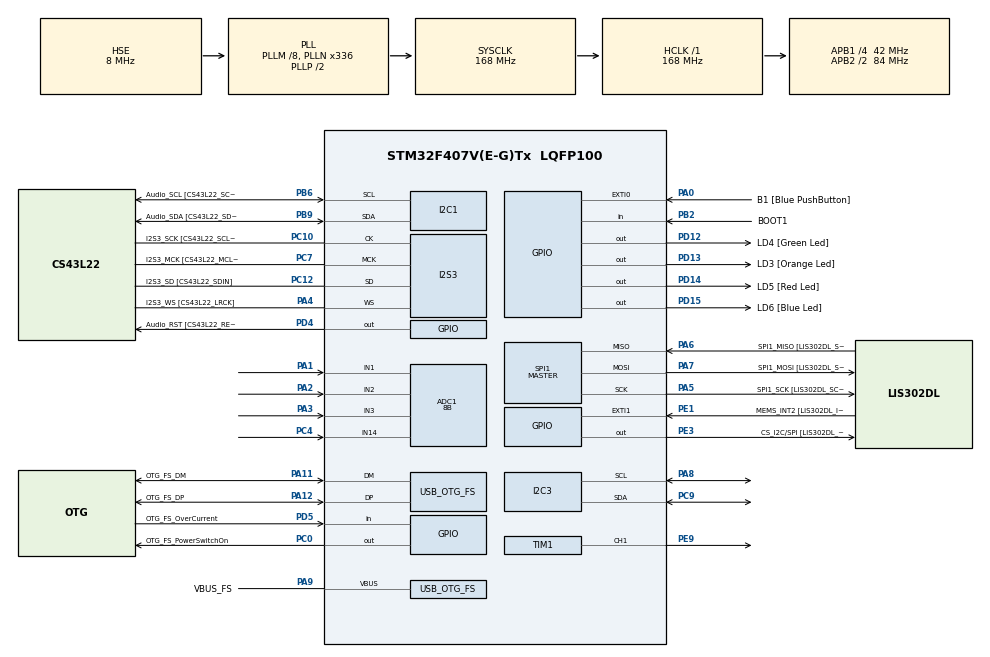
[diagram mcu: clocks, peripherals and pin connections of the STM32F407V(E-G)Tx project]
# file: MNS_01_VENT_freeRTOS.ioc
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ADC1.Channel-0\#ChannelRegularConversion=ADC_CHANNEL_1
ADC1.NbrOfConversionFlag=1
ADC1.Rank-0\#ChannelRegularConversion=1
ADC1.Resolution=ADC_RESOLUTION_8B
ADC1.SamplingTime-0\#ChannelRegularConversion=ADC_SAMPLETIME_3CYCLES
ADC1.master=1
I2C1.I2C_Mode=I2C_Fast
I2C3.I2C_Mode=I2C_Fast
I2S3.AudioFreq-Half_Duplex_Master=I2S_AUDIOFREQ_96K
I2S3.ErrorAudioFreq=-2.34 %
I2S3.ErrorAudioFreq-Half_Duplex_Master=0.8 %
I2S3.FullDuplexMode=I2S_FULLDUPLEXMODE_DISABLE
I2S3.Instance=SPI$Index
I2S3.RealAudioFreq=93.75 KHz
I2S3.RealAudioFreq-Half_Duplex_Master=96.774 KHz
I2S3.VirtualMode=I2S_MODE_MASTER
Mcu.Family=STM32F4
Mcu.Name=STM32F407V(E-G)Tx
Mcu.Package=LQFP100
NVIC.I2C3_EV_IRQn=true\:0\:0\:false\:false\:true\:true\:true\:true
NVIC.OTG_FS_IRQn=true\:0\:0\:false\:false\:true\:true\:true\:true
NVIC.PriorityGroup=NVIC_PRIORITYGROUP_4
NVIC.TIM6_DAC_IRQn=true\:0\:0\:false\:false\:true\:false\:true\:true
NVIC.TimeBase=TIM6_DAC_IRQn
NVIC.TimeBaseIP=TIM6
PA0-WKUP.GPIO_Label=B1 [Blue PushButton]
PA0-WKUP.GPIO_ModeDefaultEXTI=GPIO_MODE_EVT_RISING
PA0-WKUP.GPIO_PuPd=GPIO_NOPULL
PA0-WKUP.Signal=GPXTI0
PA1.Signal=ADCx_IN1
PA10.GPIO_Label=OTG_FS_ID
PA10.GPIO_Mode=GPIO_MODE_AF_PP
PA10.GPIO_PuPd=GPIO_NOPULL
PA10.GPIO_Speed=GPIO_SPEED_FREQ_LOW
PA10.Signal=USB_OTG_FS_ID
PA11.GPIO_Label=OTG_FS_DM
PA11.GPIO_Mode=GPIO_MODE_AF_PP
PA11.GPIO_PuPd=GPIO_NOPULL
PA11.GPIO_Speed=GPIO_SPEED_FREQ_LOW
PA11.Mode=Host_Only
PA11.Signal=USB_OTG_FS_DM
PA12.GPIO_Label=OTG_FS_DP
PA12.GPIO_Mode=GPIO_MODE_AF_PP
PA12.GPIO_PuPd=GPIO_NOPULL
PA12.GPIO_Speed=GPIO_SPEED_FREQ_LOW
PA12.Mode=Host_Only
PA12.Signal=USB_OTG_FS_DP
PA13.GPIO_Label=SWDIO
PA13.Mode=Serial_Wire
PA13.Signal=SYS_JTMS-SWDIO
PA14.GPIO_Label=SWCLK
PA14.Mode=Serial_Wire
PA14.Signal=SYS_JTCK-SWCLK
PA2.Signal=ADCx_IN2
PA3.Signal=ADCx_IN3
PA4.GPIO_Label=I2S3_WS [CS43L22_LRCK]
PA4.GPIO_Mode=GPIO_MODE_AF_PP
PA4.GPIO_PuPd=GPIO_NOPULL
PA4.GPIO_Speed=GPIO_SPEED_FREQ_LOW
PA4.Mode=Half_Duplex_Master
PA4.Signal=I2S3_WS
PA5.GPIO_Label=SPI1_SCK [LIS302DL_SCL/SPC]
PA5.GPIO_Mode=GPIO_MODE_AF_PP
PA5.GPIO_PuPd=GPIO_NOPULL
PA5.GPIO_Speed=GPIO_SPEED_FREQ_LOW
PA5.Mode=Full_Duplex_Master
PA5.Signal=SPI1_SCK
PA6.GPIO_Label=SPI1_MISO [LIS302DL_SDO]
PA6.GPIO_Mode=GPIO_MODE_AF_PP
PA6.GPIO_PuPd=GPIO_NOPULL
PA6.GPIO_Speed=GPIO_SPEED_FREQ_LOW
PA6.Mode=Full_Duplex_Master
PA6.Signal=SPI1_MISO
PA7.GPIO_Label=SPI1_MOSI [LIS302DL_SDA/SDI/SDO]
PA7.GPIO_Mode=GPIO_MODE_AF_PP
PA7.GPIO_PuPd=GPIO_NOPULL
PA7.GPIO_Speed=GPIO_SPEED_FREQ_LOW
PA7.Mode=Full_Duplex_Master
PA7.Signal=SPI1_MOSI
PA8.Mode=I2C
PA8.Signal=I2C3_SCL
PA9.GPIO_Label=VBUS_FS
PA9.GPIO_Mode=GPIO_MODE_INPUT
PA9.GPIO_PuPd=GPIO_NOPULL
PA9.Mode=Activate_VBUS
PA9.Signal=USB_OTG_FS_VBUS
PB10.GPIO_Label=CLK_IN [MP45DT02_CLK]
PB10.GPIO_Mode=GPIO_MODE_AF_PP
PB10.GPIO_PuPd=GPIO_NOPULL
PB10.GPIO_Speed=GPIO_SPEED_FREQ_LOW
PB10.Signal=I2S2_CK
PB2.GPIO_Label=BOOT1
PB2.GPIO_Mode=GPIO_MODE_INPUT
PB2.GPIO_PuPd=GPIO_NOPULL
PB2.Signal=GPIO_Input
PB3.GPIO_Label=SWO
PB3.Signal=SYS_JTDO-SWO
PB6.GPIO_Label=Audio_SCL [CS43L22_SCL]
PB6.GPIO_Mode=GPIO_MODE_AF_OD
PB6.GPIO_Pu=GPIO_PULLUP
PB6.GPIO_PuPd=GPIO_NOPULL
PB6.GPIO_Speed=GPIO_SPEED_FREQ_LOW
PB6.Mode=I2C
PB6.Signal=I2C1_SCL
PB9.GPIO_Label=Audio_SDA [CS43L22_SDA]
PB9.GPIO_Mode=GPIO_MODE_AF_OD
PB9.GPIO_Pu=GPIO_PULLUP
PB9.GPIO_PuPd=GPIO_NOPULL
PB9.GPIO_Speed=GPIO_SPEED_FREQ_LOW
PB9.Mode=I2C
PB9.Signal=I2C1_SDA
PC0.GPIO_Label=OTG_FS_PowerSwitchOn
PC0.GPIO_PuPd=GPIO_NOPULL
PC0.GPIO_Speed=GPIO_SPEED_FREQ_LOW
PC0.PinState=GPIO_PIN_SET
PC0.Signal=GPIO_Output
PC10.GPIO_Label=I2S3_SCK [CS43L22_SCLK]
PC10.GPIO_Mode=GPIO_MODE_AF_PP
PC10.GPIO_PuPd=GPIO_NOPULL
PC10.GPIO_Speed=GPIO_SPEED_FREQ_LOW
PC10.Mode=Half_Duplex_Master
PC10.Signal=I2S3_CK
PC12.GPIO_Label=I2S3_SD [CS43L22_SDIN]
PC12.GPIO_Mode=GPIO_MODE_AF_PP
PC12.GPIO_PuPd=GPIO_NOPULL
PC12.GPIO_Speed=GPIO_SPEED_FREQ_LOW
PC12.Mode=Half_Duplex_Master
PC12.Signal=I2S3_SD
PC14-OSC32_IN.GPIO_Label=PC14-OSC32_IN
PC14-OSC32_IN.Mode=LSE-External-Oscillator
PC14-OSC32_IN.Signal=RCC_OSC32_IN
PC15-OSC32_OUT.GPIO_Label=PC15-OSC32_OUT
PC15-OSC32_OUT.Mode=LSE-External-Oscillator
PC15-OSC32_OUT.Signal=RCC_OSC32_OUT
PC3.GPIO_Label=PDM_OUT [MP45DT02_DOUT]
PC3.GPIO_Mode=GPIO_MODE_AF_PP
PC3.GPIO_PuPd=GPIO_NOPULL
PC3.GPIO_Speed=GPIO_SPEED_FREQ_LOW
PC3.Signal=I2S2_SD
PC4.Signal=ADCx_IN14
PC7.GPIO_Label=I2S3_MCK [CS43L22_MCLK]
PC7.GPIO_Mode=GPIO_MODE_AF_PP
PC7.GPIO_PuPd=GPIO_NOPULL
PC7.GPIO_Speed=GPIO_SPEED_FREQ_LOW
PC7.Mode=Master_Clock_Activated
PC7.Signal=I2S3_MCK
PC9.Mode=I2C
PC9.Signal=I2C3_SDA
PD12.GPIO_Label=LD4 [Green Led]
PD12.GPIO_PuPd=GPIO_NOPULL
PD12.GPIO_Speed=GPIO_SPEED_FREQ_LOW
PD12.Signal=GPIO_Output
PD13.GPIO_Label=LD3 [Orange Led]
PD13.GPIO_PuPd=GPIO_NOPULL
PD13.GPIO_Speed=GPIO_SPEED_FREQ_LOW
PD13.Signal=GPIO_Output
PD14.GPIO_Label=LD5 [Red Led]
PD14.GPIO_PuPd=GPIO_NOPULL
PD14.GPIO_Speed=GPIO_SPEED_FREQ_LOW
PD14.Signal=GPIO_Output
PD15.GPIO_Label=LD6 [Blue Led]
PD15.GPIO_PuPd=GPIO_NOPULL
PD15.GPIO_Speed=GPIO_SPEED_FREQ_LOW
PD15.Signal=GPIO_Output
PD4.GPIO_Label=Audio_RST [CS43L22_RESET]
PD4.GPIO_PuPd=GPIO_NOPULL
PD4.GPIO_Speed=GPIO_SPEED_FREQ_LOW
PD4.Signal=GPIO_Output
PD5.GPIO_Label=OTG_FS_OverCurrent
PD5.GPIO_Mode=GPIO_MODE_INPUT
PD5.GPIO_PuPd=GPIO_NOPULL
PD5.Signal=GPIO_Input
PE1.GPIO_Label=MEMS_INT2 [LIS302DL_INT2]
PE1.GPIO_ModeDefaultEXTI=GPIO_MODE_EVT_RISING
PE1.GPIO_PuPd=GPIO_NOPULL
PE1.Signal=GPXTI1
PE3.GPIO_Label=CS_I2C/SPI [LIS302DL_CS_I2C/SPI]
PE3.GPIO_PuPd=GPIO_NOPULL
PE3.GPIO_Speed=GPIO_SPEED_FREQ_LOW
PE3.Signal=GPIO_Output
PE9.Signal=S_TIM1_CH1
PH0-OSC_IN.GPIO_Label=PH0-OSC_IN
PH0-OSC_IN.Mode=HSE-External-Oscillator
PH0-OSC_IN.Signal=RCC_OSC_IN
PH1-OSC_OUT.GPIO_Label=PH1-OSC_OUT
PH1-OSC_OUT.Mode=HSE-External-Oscillator
PH1-OSC_OUT.Signal=RCC_OSC_OUT
ProjectManager.HeapSize=0x200
ProjectManager.StackSize=0x400
ProjectManager.TargetToolchain=STM32CubeIDE
RCC.48MHZClocksFreq_Value=48000000
RCC.AHBFreq_Value=168000000
RCC.APB1CLKDivider=RCC_HCLK_DIV4
RCC.APB1Freq_Value=42000000
RCC.APB1TimFreq_Value=84000000
RCC.APB2CLKDivider=RCC_HCLK_DIV2
RCC.APB2Freq_Value=84000000
RCC.APB2TimFreq_Value=168000000
RCC.CortexFreq_Value=168000000
RCC.HCLKFreq_Value=168000000
RCC.HSE_VALUE=8000000
RCC.HSI_VALUE=16000000
RCC.PLLM=8
RCC.PLLN=336
RCC.PLLQ=7
RCC.SYSCLKFreq_VALUE=168000000
RCC.SYSCLKSource=RCC_SYSCLKSOURCE_PLLCLK
RCC.VCOOutputFreq_Value=336000000
SH.ADCx_IN1.0=ADC1_IN1,IN1
SH.ADCx_IN14.0=ADC1_IN14,IN14
SH.ADCx_IN2.0=ADC1_IN2,IN2
SH.ADCx_IN3.0=ADC1_IN3,IN3
SH.S_TIM1_CH1.0=TIM1_CH1,PWM Generation1 CH1
SPI1.BaudRatePrescaler-Full_Duplex_Master=SPI_BAUDRATEPRESCALER_2
SPI1.CalculateBaudRate-Full_Duplex_Master=42.0 MBits/s
SPI1.Direction=SPI_DIRECTION_2LINES
SPI1.Mode=SPI_MODE_MASTER
SPI1.Mode-Full_Duplex_Master=SPI_MODE_MASTER
SPI1.VirtualType=VM_MASTER
TIM1.Channel-PWM\ Generation1\ CH1=TIM_CHANNEL_1
TIM1.Period=1000
TIM1.Prescaler=840
USB_HOST.BSP.number=1
USB_HOST.USBH_HandleTypeDef-CDC_FS=hUsbHostFS
USB_HOST.VirtualModeFS=Cdc
USB_HOST0.BSP.STBoard=false
USB_HOST0.BSP.api=Unknown
USB_HOST0.BSP.i2caddr=0
USB_HOST0.BSP.i2creg=0
USB_HOST0.BSP.instance=PC0
USB_HOST0.BSP.ip=GPIO
USB_HOST0.BSP.mode=Output
USB_HOST0.BSP.name=Drive_VBUS_FS
USB_HOST0.BSP.solution=PC0
USB_OTG_FS.VirtualMode=Host_Only
USB_OTG_FS.phy_itface=HCD_PHY_EMBEDDED
VP_SYS_VS_tim6.Mode=TIM6
VP_TIM1_VS_ClockSourceINT.Mode=Internal
VP_USB_HOST_VS_USB_HOST_CDC_FS.Mode=CDC_FS
board=STM32F407G-DISC1

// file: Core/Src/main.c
/* USER CODE BEGIN Header */
/**
  ******************************************************************************
  * @file           : main.c
  * @brief          : Main program body
  ******************************************************************************
  * @attention
  *
  * Copyright (c) 2022 STMicroelectronics.
  * All rights reserved.
  *
  * This software is licensed under terms that can be found in the LICENSE file
  * in the root directory of this software component.
  * If no LICENSE file comes with this software, it is provided AS-IS.
  *
  ******************************************************************************
  */
/* USER CODE END Header */
#include "main.h"
#include "usb_host.h"

/* USER CODE BEGIN Includes */
#include "FreeRTOS.h"
#include "Task.h"
#include "queue.h"

/////////////////////////////////////////////Include library for OLED////////////////////////////////////////////////////////////
#include "ssd1306.h"
#include "fonts.h"
#include "test.h"
////////////////////////////////////////////MAX30102 INCLUDES////////////////////////////////////////////////////////////////////////
#include "stdio.h"
#include "algorithm.h"
#include "max30102_lib.h"

/* USER CODE END Includes */

 ADC_HandleTypeDef hadc1;

I2C_HandleTypeDef hi2c1;
I2C_HandleTypeDef hi2c3;

I2S_HandleTypeDef hi2s3;

SPI_HandleTypeDef hspi1;

TIM_HandleTypeDef htim1;

/* USER CODE BEGIN PV */
TaskHandle_t uart_task_handle;
TaskHandle_t motor_task_handle;
TaskHandle_t max_sample_task_handle;
TaskHandle_t max_calc_task_handle;
TaskHandle_t pressure_task_handle;
TaskHandle_t oled_task_handle;
TaskHandle_t adc_task_handle;
TaskHandle_t indicator_task_handle;

BaseType_t status;
QueueHandle_t xQueueReadings;

max30102 max;  //MAX30102 object instantiation

int8_t i = 0;

/* USER CODE END PV */

void SystemClock_Config(void);
static void MX_GPIO_Init(void);
static void MX_I2C1_Init(void);
static void MX_I2S3_Init(void);
static void MX_SPI1_Init(void);
static void MX_TIM1_Init(void);
static void MX_ADC1_Init(void);
static void MX_I2C3_Init(void);
void MX_USB_HOST_Process(void);

/* USER CODE BEGIN PFP */
//static void uart_task_handler(void* parameters); //uart send data after 5 seconds
static void motor_task_handler(void* parameters); //motor control ventilator
static void max_sample_task_handler(void* parameters); //sample values from the max30102
static void max_calc_task_handler(void* parameters);//calculate sampled values to bring an spo2 and hr reading
static void pressure_task_handler(void* parameters);//measure pressure from
static void oled_task_handler(void* parameters); //OLED tasks
static void adc_task_handler(void* parameters); //takes readings from the knobs
static void indicator_task_handler(void* parameters);//shows status of the system to the user through LEDs

//declare ADC functions for controls
static void setIE(uint8_t);
static uint16_t map(uint16_t, uint16_t, uint16_t, uint16_t, uint16_t);
//declare MAX30102 functions
void config_max30102_sensor(void);
void initiate_max30102_temp_measurement(void);

/* USER CODE END PFP */

/* USER CODE BEGIN 0 */
//////////////////////////////////////////////declare ADC functions for controls/////////////////////////////////////////////////////////
uint16_t rawIE;
uint16_t rawVpb;
uint16_t rawBpm;
uint16_t volumePerBreath = 367; //any value can be set from 0 - 367 corresponding to volume
uint16_t breathsPerMinute = 10;
uint8_t inspirationRatio = 1; // inspiration ratio value
uint8_t expirationRatio = 1; //expiration ratio value

ADC_ChannelConfTypeDef sConfig; //enable it to be available in all functions

/////////////////////////////////////////////////Declare values for MAX30102////////////////////////////////////////////////////////////
float t = 0; //temperature value

uint32_t irBuffer[100]; //infrared LED sensor data
uint32_t redBuffer[100];  //red LED sensor data
uint8_t bufferLength = 100; //buffer length of 100 stores 4 seconds of samples running at 25sps

int32_t spo2 = 93; //SPO2 value
int8_t validSPO2; //indicator to show if the SPO2 calculation is valid
int32_t heartRate = 40; //heart rate value
int8_t validHeartRate; //indicator to show if the heart rate calculation is valid
uint8_t initialReading = 0;
//////////////////////////////////////////////OLED DISPLAY ///////////////////////////////////////////////////////////////////
int8_t initialDisplay = 0;
/////////////////////////////////////////////// UART ///////////////////////////////////////////////////////////////////////////////////
//int uartValue = 1;
//char ox[8] = "&oxygen=";
//char expi[16] = "&expiratory=";
//char he[8] = "&heart=";
////////////////////////////////////////////// PRESSURE SENSOR ////////////////////////////////////////////////////////////////////////
uint8_t airwayPressure = 30; //depends on pressure
uint8_t rawPressure =0;

/* USER CODE END 0 */

int main(void)
{

  /* MCU Configuration--------------------------------------------------------*/

  /* Reset of all peripherals, Initializes the Flash interface and the Systick. */
  HAL_Init();

  /* Configure the system clock */
  SystemClock_Config();

  /* Initialize all configured peripherals */
  MX_GPIO_Init();
  MX_I2C1_Init();
  MX_I2S3_Init();
  MX_SPI1_Init();
  MX_USB_HOST_Init();
  MX_TIM1_Init();
  MX_ADC1_Init();
  MX_I2C3_Init();
  /* USER CODE BEGIN 2 */
  //max30102 code
  config_max30102_sensor();
  initiate_max30102_temp_measurement();
 ///////////////////////////////////////////Initialize OLED START//////////////////////////////////////////////////////////
  SSD1306_Init (); // initialize the display
 //put constant parameters on the screen
  SSD1306_GotoXY (1,1); // goto 10, 10
  SSD1306_Puts ("MNS_01_VENT", &Font_7x10, 1); // print name of vent

  SSD1306_GotoXY (1, 10);
  SSD1306_Puts ("Temp:", &Font_7x10, 1); //temp

  SSD1306_GotoXY (1, 20);
  SSD1306_Puts ("SPO2:", &Font_7x10, 1);//spo2

  SSD1306_GotoXY (1, 30);
  SSD1306_Puts ("HR:", &Font_7x10, 1); //HR

  SSD1306_GotoXY (1, 40);
  SSD1306_Puts ("VPB:", &Font_7x10, 1);//VPB

  SSD1306_GotoXY (1, 50);
  SSD1306_Puts ("BPM:", &Font_7x10, 1); //BPM

  SSD1306_GotoXY (1, 60);
  SSD1306_Puts ("I:E:", &Font_7x10, 1);

  taskENTER_CRITICAL();
  SSD1306_UpdateScreen(); // update screen
  taskEXIT_CRITICAL();
 ///////////////////////////////////////////Initialize OLED START///////////////////////////////////////////////////////
  //create queue for holding spo2 and hr
  xQueueReadings = xQueueCreate( 1, sizeof( int8_t ) );

//  status = xTaskCreate(uart_task_handler, "uart", 120, "uart", 0, &uart_task_handle);
//  configASSERT(status == pdPASS);
//
  status = xTaskCreate(motor_task_handler, "motor", 160, "motor", 3, &motor_task_handle);
  configASSERT(status == pdPASS);

  status = xTaskCreate(max_sample_task_handler, "max_sample", 200, "sampling", 2, &max_sample_task_handle);
  configASSERT(status == pdPASS);

  status = xTaskCreate(max_calc_task_handler, "max_calc", 200, "calculating", 3, &max_calc_task_handle);
  configASSERT(status == pdPASS);

  status = xTaskCreate(pressure_task_handler, "pressure_task", 100, "pressure calc", 1, &pressure_task_handle);
  configASSERT(status == pdPASS);

  status = xTaskCreate(oled_task_handler, "oled_task", 200, "Hello", 1, &oled_task_handle);
  configASSERT(status == pdPASS);

  status = xTaskCreate(adc_task_handler, "adc_task", 180, "adc", 1, &adc_task_handle);
  configASSERT(status == pdPASS);

  status = xTaskCreate(indicator_task_handler, "indicator_task", 80, "led-indicators", 1, &indicator_task_handle);
  configASSERT(status == pdPASS);

  //start the freeRTOS scheduler
  vTaskStartScheduler();
  //if control comes here its because the scheduler has failed due to insufficient memory
  /* USER CODE END 2 */

  /* Infinite loop */
  while (1)
  {
    MX_USB_HOST_Process();

  }
}

void SystemClock_Config(void)
{
  RCC_OscInitTypeDef RCC_OscInitStruct = {0};
  RCC_ClkInitTypeDef RCC_ClkInitStruct = {0};

  /** Configure the main internal regulator output voltage
  */
  __HAL_RCC_PWR_CLK_ENABLE();
  __HAL_PWR_VOLTAGESCALING_CONFIG(PWR_REGULATOR_VOLTAGE_SCALE1);

  /** Initializes the RCC Oscillators according to the specified parameters
  * in the RCC_OscInitTypeDef structure.
  */
  RCC_OscInitStruct.OscillatorType = RCC_OSCILLATORTYPE_HSE;
  RCC_OscInitStruct.HSEState = RCC_HSE_ON;
  RCC_OscInitStruct.PLL.PLLState = RCC_PLL_ON;
  RCC_OscInitStruct.PLL.PLLSource = RCC_PLLSOURCE_HSE;
  RCC_OscInitStruct.PLL.PLLM = 8;
  RCC_OscInitStruct.PLL.PLLN = 336;
  RCC_OscInitStruct.PLL.PLLP = RCC_PLLP_DIV2;
  RCC_OscInitStruct.PLL.PLLQ = 7;
  if (HAL_RCC_OscConfig(&RCC_OscInitStruct) != HAL_OK)
  {
    Error_Handler();
  }

  /** Initializes the CPU, AHB and APB buses clocks
  */
  RCC_ClkInitStruct.ClockType = RCC_CLOCKTYPE_HCLK|RCC_CLOCKTYPE_SYSCLK
                              |RCC_CLOCKTYPE_PCLK1|RCC_CLOCKTYPE_PCLK2;
  RCC_ClkInitStruct.SYSCLKSource = RCC_SYSCLKSOURCE_PLLCLK;
  RCC_ClkInitStruct.AHBCLKDivider = RCC_SYSCLK_DIV1;
  RCC_ClkInitStruct.APB1CLKDivider = RCC_HCLK_DIV4;
  RCC_ClkInitStruct.APB2CLKDivider = RCC_HCLK_DIV2;

  if (HAL_RCC_ClockConfig(&RCC_ClkInitStruct, FLASH_LATENCY_5) != HAL_OK)
  {
    Error_Handler();
  }
}

static void MX_ADC1_Init(void)
{

  ADC_ChannelConfTypeDef sConfig = {0};

  /** Configure the global features of the ADC (Clock, Resolution, Data Alignment and number of conversion)
  */
  hadc1.Instance = ADC1;
  hadc1.Init.ClockPrescaler = ADC_CLOCK_SYNC_PCLK_DIV4;
  hadc1.Init.Resolution = ADC_RESOLUTION_8B;
  hadc1.Init.ScanConvMode = DISABLE;
  hadc1.Init.ContinuousConvMode = DISABLE;
  hadc1.Init.DiscontinuousConvMode = DISABLE;
  hadc1.Init.ExternalTrigConvEdge = ADC_EXTERNALTRIGCONVEDGE_NONE;
  hadc1.Init.ExternalTrigConv = ADC_SOFTWARE_START;
  hadc1.Init.DataAlign = ADC_DATAALIGN_RIGHT;
  hadc1.Init.NbrOfConversion = 1;
  hadc1.Init.DMAContinuousRequests = DISABLE;
  hadc1.Init.EOCSelection = ADC_EOC_SINGLE_CONV;
  if (HAL_ADC_Init(&hadc1) != HAL_OK)
  {
    Error_Handler();
  }

  /** Configure for the selected ADC regular channel its corresponding rank in the sequencer and its sample time.
  */
  sConfig.Channel = ADC_CHANNEL_1;
  sConfig.Rank = 1;
  sConfig.SamplingTime = ADC_SAMPLETIME_3CYCLES;
  if (HAL_ADC_ConfigChannel(&hadc1, &sConfig) != HAL_OK)
  {
    Error_Handler();
  }

}

static void MX_I2C1_Init(void)
{

  hi2c1.Instance = I2C1;
  hi2c1.Init.ClockSpeed = 400000;
  hi2c1.Init.DutyCycle = I2C_DUTYCYCLE_2;
  hi2c1.Init.OwnAddress1 = 0;
  hi2c1.Init.AddressingMode = I2C_ADDRESSINGMODE_7BIT;
  hi2c1.Init.DualAddressMode = I2C_DUALADDRESS_DISABLE;
  hi2c1.Init.OwnAddress2 = 0;
  hi2c1.Init.GeneralCallMode = I2C_GENERALCALL_DISABLE;
  hi2c1.Init.NoStretchMode = I2C_NOSTRETCH_DISABLE;
  if (HAL_I2C_Init(&hi2c1) != HAL_OK)
  {
    Error_Handler();
  }

}

static void MX_I2C3_Init(void)
{

  hi2c3.Instance = I2C3;
  hi2c3.Init.ClockSpeed = 400000;
  hi2c3.Init.DutyCycle = I2C_DUTYCYCLE_2;
  hi2c3.Init.OwnAddress1 = 0;
  hi2c3.Init.AddressingMode = I2C_ADDRESSINGMODE_7BIT;
  hi2c3.Init.DualAddressMode = I2C_DUALADDRESS_DISABLE;
  hi2c3.Init.OwnAddress2 = 0;
  hi2c3.Init.GeneralCallMode = I2C_GENERALCALL_DISABLE;
  hi2c3.Init.NoStretchMode = I2C_NOSTRETCH_DISABLE;
  if (HAL_I2C_Init(&hi2c3) != HAL_OK)
  {
    Error_Handler();
  }

}

static void MX_I2S3_Init(void)
{

  hi2s3.Instance = SPI3;
  hi2s3.Init.Mode = I2S_MODE_MASTER_TX;
  hi2s3.Init.Standard = I2S_STANDARD_PHILIPS;
  hi2s3.Init.DataFormat = I2S_DATAFORMAT_16B;
  hi2s3.Init.MCLKOutput = I2S_MCLKOUTPUT_ENABLE;
  hi2s3.Init.AudioFreq = I2S_AUDIOFREQ_96K;
  hi2s3.Init.CPOL = I2S_CPOL_LOW;
  hi2s3.Init.ClockSource = I2S_CLOCK_PLL;
  hi2s3.Init.FullDuplexMode = I2S_FULLDUPLEXMODE_DISABLE;
  if (HAL_I2S_Init(&hi2s3) != HAL_OK)
  {
    Error_Handler();
  }

}

static void MX_SPI1_Init(void)
{

  /* SPI1 parameter configuration*/
  hspi1.Instance = SPI1;
  hspi1.Init.Mode = SPI_MODE_MASTER;
  hspi1.Init.Direction = SPI_DIRECTION_2LINES;
  hspi1.Init.DataSize = SPI_DATASIZE_8BIT;
  hspi1.Init.CLKPolarity = SPI_POLARITY_LOW;
  hspi1.Init.CLKPhase = SPI_PHASE_1EDGE;
  hspi1.Init.NSS = SPI_NSS_SOFT;
  hspi1.Init.BaudRatePrescaler = SPI_BAUDRATEPRESCALER_2;
  hspi1.Init.FirstBit = SPI_FIRSTBIT_MSB;
  hspi1.Init.TIMode = SPI_TIMODE_DISABLE;
  hspi1.Init.CRCCalculation = SPI_CRCCALCULATION_DISABLE;
  hspi1.Init.CRCPolynomial = 10;
  if (HAL_SPI_Init(&hspi1) != HAL_OK)
  {
    Error_Handler();
  }

}

static void MX_TIM1_Init(void)
{

  TIM_ClockConfigTypeDef sClockSourceConfig = {0};
  TIM_MasterConfigTypeDef sMasterConfig = {0};
  TIM_OC_InitTypeDef sConfigOC = {0};
  TIM_BreakDeadTimeConfigTypeDef sBreakDeadTimeConfig = {0};

  htim1.Instance = TIM1;
  htim1.Init.Prescaler = 840;
  htim1.Init.CounterMode = TIM_COUNTERMODE_UP;
  htim1.Init.Period = 1000;
  htim1.Init.ClockDivision = TIM_CLOCKDIVISION_DIV1;
  htim1.Init.RepetitionCounter = 0;
  htim1.Init.AutoReloadPreload = TIM_AUTORELOAD_PRELOAD_DISABLE;
  if (HAL_TIM_Base_Init(&htim1) != HAL_OK)
  {
    Error_Handler();
  }
  sClockSourceConfig.ClockSource = TIM_CLOCKSOURCE_INTERNAL;
  if (HAL_TIM_ConfigClockSource(&htim1, &sClockSourceConfig) != HAL_OK)
  {
    Error_Handler();
  }
  if (HAL_TIM_PWM_Init(&htim1) != HAL_OK)
  {
    Error_Handler();
  }
  sMasterConfig.MasterOutputTrigger = TIM_TRGO_RESET;
  sMasterConfig.MasterSlaveMode = TIM_MASTERSLAVEMODE_DISABLE;
  if (HAL_TIMEx_MasterConfigSynchronization(&htim1, &sMasterConfig) != HAL_OK)
  {
    Error_Handler();
  }
  sConfigOC.OCMode = TIM_OCMODE_PWM1;
  sConfigOC.Pulse = 0;
  sConfigOC.OCPolarity = TIM_OCPOLARITY_HIGH;
  sConfigOC.OCNPolarity = TIM_OCNPOLARITY_HIGH;
  sConfigOC.OCFastMode = TIM_OCFAST_DISABLE;
  sConfigOC.OCIdleState = TIM_OCIDLESTATE_RESET;
  sConfigOC.OCNIdleState = TIM_OCNIDLESTATE_RESET;
  if (HAL_TIM_PWM_ConfigChannel(&htim1, &sConfigOC, TIM_CHANNEL_1) != HAL_OK)
  {
    Error_Handler();
  }
  sBreakDeadTimeConfig.OffStateRunMode = TIM_OSSR_DISABLE;
  sBreakDeadTimeConfig.OffStateIDLEMode = TIM_OSSI_DISABLE;
  sBreakDeadTimeConfig.LockLevel = TIM_LOCKLEVEL_OFF;
  sBreakDeadTimeConfig.DeadTime = 0;
  sBreakDeadTimeConfig.BreakState = TIM_BREAK_DISABLE;
  sBreakDeadTimeConfig.BreakPolarity = TIM_BREAKPOLARITY_HIGH;
  sBreakDeadTimeConfig.AutomaticOutput = TIM_AUTOMATICOUTPUT_DISABLE;
  if (HAL_TIMEx_ConfigBreakDeadTime(&htim1, &sBreakDeadTimeConfig) != HAL_OK)
  {
    Error_Handler();
  }
  HAL_TIM_MspPostInit(&htim1);

}

static void MX_GPIO_Init(void)
{
  GPIO_InitTypeDef GPIO_InitStruct = {0};

  /* GPIO Ports Clock Enable */
  __HAL_RCC_GPIOE_CLK_ENABLE();
  __HAL_RCC_GPIOC_CLK_ENABLE();
  __HAL_RCC_GPIOH_CLK_ENABLE();
  __HAL_RCC_GPIOA_CLK_ENABLE();
  __HAL_RCC_GPIOB_CLK_ENABLE();
  __HAL_RCC_GPIOD_CLK_ENABLE();

  /*Configure GPIO pin Output Level */
  HAL_GPIO_WritePin(CS_I2C_SPI_GPIO_Port, CS_I2C_SPI_Pin, GPIO_PIN_RESET);

  /*Configure GPIO pin Output Level */
  HAL_GPIO_WritePin(OTG_FS_PowerSwitchOn_GPIO_Port, OTG_FS_PowerSwitchOn_Pin, GPIO_PIN_SET);

  /*Configure GPIO pin Output Level */
  HAL_GPIO_WritePin(GPIOD, LD4_Pin|LD3_Pin|LD5_Pin|LD6_Pin
                          |Audio_RST_Pin, GPIO_PIN_RESET);

  /*Configure GPIO pin : CS_I2C_SPI_Pin */
  GPIO_InitStruct.Pin = CS_I2C_SPI_Pin;
  GPIO_InitStruct.Mode = GPIO_MODE_OUTPUT_PP;
  GPIO_InitStruct.Pull = GPIO_NOPULL;
  GPIO_InitStruct.Speed = GPIO_SPEED_FREQ_LOW;
  HAL_GPIO_Init(CS_I2C_SPI_GPIO_Port, &GPIO_InitStruct);

  /*Configure GPIO pin : OTG_FS_PowerSwitchOn_Pin */
  GPIO_InitStruct.Pin = OTG_FS_PowerSwitchOn_Pin;
  GPIO_InitStruct.Mode = GPIO_MODE_OUTPUT_PP;
  GPIO_InitStruct.Pull = GPIO_NOPULL;
  GPIO_InitStruct.Speed = GPIO_SPEED_FREQ_LOW;
  HAL_GPIO_Init(OTG_FS_PowerSwitchOn_GPIO_Port, &GPIO_InitStruct);

  /*Configure GPIO pin : PDM_OUT_Pin */
  GPIO_InitStruct.Pin = PDM_OUT_Pin;
  GPIO_InitStruct.Mode = GPIO_MODE_AF_PP;
  GPIO_InitStruct.Pull = GPIO_NOPULL;
  GPIO_InitStruct.Speed = GPIO_SPEED_FREQ_LOW;
  GPIO_InitStruct.Alternate = GPIO_AF5_SPI2;
  HAL_GPIO_Init(PDM_OUT_GPIO_Port, &GPIO_InitStruct);

  /*Configure GPIO pin : B1_Pin */
  GPIO_InitStruct.Pin = B1_Pin;
  GPIO_InitStruct.Mode = GPIO_MODE_EVT_RISING;
  GPIO_InitStruct.Pull = GPIO_NOPULL;
  HAL_GPIO_Init(B1_GPIO_Port, &GPIO_InitStruct);

  /*Configure GPIO pin : BOOT1_Pin */
  GPIO_InitStruct.Pin = BOOT1_Pin;
  GPIO_InitStruct.Mode = GPIO_MODE_INPUT;
  GPIO_InitStruct.Pull = GPIO_NOPULL;
  HAL_GPIO_Init(BOOT1_GPIO_Port, &GPIO_InitStruct);

  /*Configure GPIO pin : CLK_IN_Pin */
  GPIO_InitStruct.Pin = CLK_IN_Pin;
  GPIO_InitStruct.Mode = GPIO_MODE_AF_PP;
  GPIO_InitStruct.Pull = GPIO_NOPULL;
  GPIO_InitStruct.Speed = GPIO_SPEED_FREQ_LOW;
  GPIO_InitStruct.Alternate = GPIO_AF5_SPI2;
  HAL_GPIO_Init(CLK_IN_GPIO_Port, &GPIO_InitStruct);

  /*Configure GPIO pins : LD4_Pin LD3_Pin LD5_Pin LD6_Pin
                           Audio_RST_Pin */
  GPIO_InitStruct.Pin = LD4_Pin|LD3_Pin|LD5_Pin|LD6_Pin
                          |Audio_RST_Pin;
  GPIO_InitStruct.Mode = GPIO_MODE_OUTPUT_PP;
  GPIO_InitStruct.Pull = GPIO_NOPULL;
  GPIO_InitStruct.Speed = GPIO_SPEED_FREQ_LOW;
  HAL_GPIO_Init(GPIOD, &GPIO_InitStruct);

  /*Configure GPIO pin : OTG_FS_OverCurrent_Pin */
  GPIO_InitStruct.Pin = OTG_FS_OverCurrent_Pin;
  GPIO_InitStruct.Mode = GPIO_MODE_INPUT;
  GPIO_InitStruct.Pull = GPIO_NOPULL;
  HAL_GPIO_Init(OTG_FS_OverCurrent_GPIO_Port, &GPIO_InitStruct);

  /*Configure GPIO pin : MEMS_INT2_Pin */
  GPIO_InitStruct.Pin = MEMS_INT2_Pin;
  GPIO_InitStruct.Mode = GPIO_MODE_EVT_RISING;
  GPIO_InitStruct.Pull = GPIO_NOPULL;
  HAL_GPIO_Init(MEMS_INT2_GPIO_Port, &GPIO_InitStruct);

}

/* USER CODE BEGIN 4 */
///////////////////////////////////////////////MAX30102 CODE START//////////////////////////////////////////////////////////////////////
void config_max30102_sensor(void)
{
	  //Initiate the MAX30102 code
	   max30102_init(&max, &hi2c3);
	   max30102_reset(&max);
	   max30102_clear_fifo(&max);

	   //set mode for sensor
	     max30102_set_mode(&max);
	     //enable interrupts
	     max30102_interrupt_config(&max);

	     //spo2 config
	     max30102_spo2_config(&max);

	     //fifo config
	     max30102_fifo_config(&max);

	     //led1 current setting
	      max30102_led1_settings(&max);

	     //led2 current setting
	     max30102_led2_settings(&max);
}

void initiate_max30102_temp_measurement(void)
{
    //initiate 1 temperature measurement
    max30102_set_die_temp_en(&max);
    max30102_set_die_temp_rdy(&max);
}
//////////////////////////////////////////////MAX30102 CODE END//////////////////////////////////////////////////////////////////////////
///////////////////////////////////////////////ADC code start ///////////////////////////////////////////////////////////////////////////
void setIE(uint8_t x)
{
	  if(x >= 0 && x <= 63)
	  {
	     expirationRatio = 1;
	  }
	  if(x >= 64 && x <= 127)
	  	  {
	  	     expirationRatio = 2;
	  	  }
	  if(x >= 128 && x <= 191)
	  	  {
	  	     expirationRatio = 3;
	  	  }
	  if(x >= 192 && x <= 255)
	 	  {
	 	  	expirationRatio = 4;
	 	  }
}

uint16_t map(uint16_t value, uint16_t A, uint16_t B, uint16_t a, uint16_t b)
{
	uint16_t v = value;
	return (v - A)*(b-a)/(B-A) + a;
}
///////////////////////////////////////////////ADC code end//////////////////////////////////////////////////////////////////////////////
//////////////////////////////////////////////////////RTOS TASKS BEGIN////////////////////////////////////////////////////////////////
//static void uart_task_handler(void* parameters)
//{
//	while(1)
//	{
//change values from integers to characters
//		  char o[10];
//		  //converting num to string
//		  sprintf(o, "%d", (int16_t) spo2);
//
//		  char e[10];
//		  sprintf(e, "%d", expirationRatio);
//
//		  char h[10];
//		  sprintf(h, "%d", (int16_t)heartRate);
//
//		  //concatenate values for sending over uart
//		  strcat(ox,o);
//		  strcat(ox,expi);
//		  strcat(ox, e);
//		  strcat(ox, he);
//		  strcat(ox, h);
//
//		  taskENTER_CRITICAL();
//		    HAL_UART_Transmit(&huart3, (uint8_t *) ox, strlen(ox), 5);
//		  taskEXIT_CRITICAL();

//	}
//}
static void motor_task_handler(void* parameters)
{
	while(1)
	{
		 uint32_t breathLength = 60000/breathsPerMinute; // get total lenght of inspiration and expiration
		 uint32_t lengthOfInspiration = (inspirationRatio * breathLength)/(inspirationRatio + expirationRatio);//get duration for inspiration
		 uint32_t lengthOfExpiration = breathLength - lengthOfInspiration; //get inspiration length

		 uint32_t steps = volumePerBreath /breathsPerMinute; //steps taken in the for loop
		 uint32_t stepSize = volumePerBreath / steps; // size of each step in the inspiration cycle
		 uint32_t secDelayPerInsp = lengthOfInspiration/steps; //delay per step

		//Inspiration phase
		for(uint32_t i = 100; i<=volumePerBreath; i += stepSize)
		{
		 htim1.Instance -> CCR1 = i;
		 vTaskDelay(pdMS_TO_TICKS(secDelayPerInsp));
		}

		vTaskDelay(pdMS_TO_TICKS(lengthOfExpiration));
	}
}
static void max_sample_task_handler(void* parameters)
{
	TickType_t xLastWakeTime;

	// Initialise the xLastWakeTime variable with the current time.
	xLastWakeTime = xTaskGetTickCount();
	while(1)
	{
	  max30102_interrupt_handler(&max); //get max30102 sample
	  vTaskDelayUntil( &xLastWakeTime, pdMS_TO_TICKS( 40 ) );
	}
}
static void max_calc_task_handler(void* parameters)
{
	int8_t valueToSend = 32;
	BaseType_t xStatus;
	TickType_t xLastWakeTime;

	// Initialise the xLastWakeTime variable with the current time.
	xLastWakeTime = xTaskGetTickCount();
	int8_t k = 0;

	while(1)
	{
		t = max.temperature;
		if(initialReading == 0)
		{
			if(k == 0)
			{
				//store first 25 samples and store in buffer
				 for(uint8_t x = 0; x<=24; x++)
				{
				irBuffer[x] = max._ir_samples[x];
				redBuffer[x] = max._red_samples[x];
				}
			}

			if(k == 1)
			{
				//store second 25 samples in buffer position 25-49
				for(uint8_t x = 25; x<=49; x++)
				{
				 irBuffer[x] = max._ir_samples[x-25];
				 redBuffer[x] = max._red_samples[x-25];
				}
			}

			if(k == 2)
			{
				//store samples in buffer position 50-74
			    for(uint8_t x = 50; x<=74; x++)
				{
				 irBuffer[x] = max._ir_samples[x-50];
				 redBuffer[x] = max._red_samples[x-50];
				}
			}

			if(k == 3)
			{
				 //store samples in buffer position 74-99
				for(uint8_t x=74; x<=99; x++)
				{
				  irBuffer[x] = max._ir_samples[x-74];
				  redBuffer[x] = max._red_samples[x-74];
				}
				initialReading = 1;
			}

			k = k + 1;

			if(max._ir_samples[0] == 0)
			{
				k = 0;
			}

		} else
		{
			//re-order the samples in preparation of new calculations
			for(int8_t i = 75; i<100; i++)
			{
			 irBuffer[i] = max._ir_samples[i - 75];
			 redBuffer[i] = max._red_samples[i - 75];
			}

			//After gathering 25 new samples recalculate HR and SP02
			maxim_heart_rate_and_oxygen_saturation(irBuffer, bufferLength, redBuffer, &spo2, &validSPO2, &heartRate, &validHeartRate);

			xStatus = xQueueSendToBack( xQueueReadings, &valueToSend, 100 );

			if( xStatus != pdPASS )
			{
				/* The send operation could not complete because the queue was full */

			}
		}

         vTaskDelayUntil( &xLastWakeTime, pdMS_TO_TICKS( 1000 ) );

	}
}
static void pressure_task_handler(void* parameters)
{
	while(1)
	{
		//config channel 14 of ADC1
		sConfig.Channel = ADC_CHANNEL_14;
		HAL_ADC_ConfigChannel(&hadc1, &sConfig);

		HAL_ADC_Start(&hadc1);
		//get raw value for Breaths per minute
	    if(HAL_ADC_PollForConversion(&hadc1, 3) == HAL_OK)
		{
		rawPressure = HAL_ADC_GetValue(&hadc1);
		}

	    airwayPressure = map(rawPressure, 0, 255, 0, 5);
	}
}
static void oled_task_handler(void* parameters)
{
	int8_t recievedValue;
	BaseType_t xStatus;
//	const TickType_t xTicksToWait = pdMS_TO_TICKS( 100 );

	while(1)
	{
		/* This call should always find the queue empty because this task will
		 immediately remove any data that is written to the queue. */
		 if( uxQueueMessagesWaiting( xQueueReadings ) != 0 )
		 {

		 }

		 xStatus = xQueueReceive( xQueueReadings, &recievedValue, 0 );

		 if( xStatus == pdPASS )
		  {
		  /* Data was successfully received from the queue */
			   i = recievedValue;

		  	  //temperature value
		  	    SSD1306_GotoXY (40, 10);
		  	    char temp[10];
		  	    taskENTER_CRITICAL();
		  	    sprintf(temp, "%i", (uint16_t)t);
		  	    taskEXIT_CRITICAL();
		  	    SSD1306_Puts ( temp, &Font_7x10, 1);

		  	    //spo2 value
		  	    SSD1306_GotoXY (40, 20);
		  	    if(validSPO2 == 1)
		  	    {
		  	    	char oxygen[10];
//		  	    	taskENTER_CRITICAL();
//		  	        sprintf(oxygen, "%i", (uint16_t)spo2);
		  	    	 sprintf(oxygen, "%i", (uint16_t)spo2);
//		  	        taskEXIT_CRITICAL();
		  	        SSD1306_Puts ( oxygen, &Font_7x10, 1);
		  	    }

		  	    //Heart rate value
		  	   SSD1306_GotoXY (40, 30);
		  	    if(validHeartRate == 1)
		  	    {
		  	    	 char heart[10];
//		  	    	 taskENTER_CRITICAL();
		  	         sprintf(heart, "%i", (uint16_t)heartRate);
//		  	         taskEXIT_CRITICAL();
		  	         SSD1306_Puts ( heart, &Font_7x10, 1);
		  	    }

		  	    //VPB value
		  	    SSD1306_GotoXY (40, 40);
		  	    char vpb[10];
		  	    sprintf(vpb, "%i", volumePerBreath);
		  	    SSD1306_Puts (vpb, &Font_7x10, 1);

		  	    //BPM value
		  	    SSD1306_GotoXY (40, 50);
		  	    char bpm[10];
		  	    sprintf(bpm, "%i", breathsPerMinute);
		  	    SSD1306_Puts (bpm, &Font_7x10, 1);

		  	    //I:E value
		  	    char ie[10];
		  	    sprintf(ie, "%i", expirationRatio);
		  	    SSD1306_GotoXY (40, 50);
		  	    SSD1306_Puts (ie, &Font_7x10, 1);

		  	    taskENTER_CRITICAL();
		  	    SSD1306_UpdateScreen(); // update screen
		  	    taskEXIT_CRITICAL();

		  }

	}
}
static void adc_task_handler(void* parameters)
{
	TickType_t xLastWakeTime;

	// Initialise the xLastWakeTime variable with the current time.
	xLastWakeTime = xTaskGetTickCount();

	while(1)
	{
		 sConfig.Channel = ADC_CHANNEL_0;
		 HAL_ADC_ConfigChannel(&hadc1, &sConfig);

		 //get raw value for I:E
		 HAL_ADC_Start(&hadc1);
		 if(HAL_ADC_PollForConversion(&hadc1, 5) == HAL_OK)
		 {
			rawIE = HAL_ADC_GetValue(&hadc1);
		 }
		 HAL_ADC_Stop(&hadc1);

		 setIE(rawIE);

		 sConfig.Channel = ADC_CHANNEL_1;
		 HAL_ADC_ConfigChannel(&hadc1, &sConfig);

		 //get raw value for Volume per breath
		 HAL_ADC_Start(&hadc1);
		 if(HAL_ADC_PollForConversion(&hadc1, 5) == HAL_OK)
		 {
		  rawVpb = HAL_ADC_GetValue(&hadc1);
		 }
		 volumePerBreath = map(rawVpb, 0, 255, 100, 367);

		 sConfig.Channel = ADC_CHANNEL_2;
		 HAL_ADC_ConfigChannel(&hadc1, &sConfig);

		 HAL_ADC_Start(&hadc1);
		 //get raw value for Breaths per minute
		 if(HAL_ADC_PollForConversion(&hadc1, 3) == HAL_OK)
		 {
		   rawBpm = HAL_ADC_GetValue(&hadc1);
		 }

		breathsPerMinute = map(rawVpb, 0, 255, 10, 40);

	    vTaskDelayUntil( &xLastWakeTime, pdMS_TO_TICKS( 2000 ) );
	}
}
static void indicator_task_handler(void* parameters)
{
	while(1)
	{
		 if(airwayPressure > 35)
		   {
			   //pressure is too high
			   HAL_GPIO_WritePin(GPIOD, GPIO_PIN_13, SET);
			   HAL_GPIO_WritePin(GPIOD, GPIO_PIN_14, SET);
			   HAL_GPIO_WritePin(GPIOD, GPIO_PIN_12, RESET);
		   }else{
			   HAL_GPIO_WritePin(GPIOD, GPIO_PIN_13, RESET);
			   HAL_GPIO_WritePin(GPIOD, GPIO_PIN_12, SET);
			   HAL_GPIO_WritePin(GPIOD, GPIO_PIN_14, RESET);
		   }
		 //wrong heart rate values, spo2 & airway pressure
		   if(validSPO2 == 0 && validHeartRate ==0 && airwayPressure >35)
		   {
			   HAL_GPIO_WritePin(GPIOD, GPIO_PIN_13, SET);
			   HAL_GPIO_WritePin(GPIOD, GPIO_PIN_14, SET);
			   HAL_GPIO_WritePin(GPIOD, GPIO_PIN_12, SET);
		   }
	}
}
//////////////////////////////////////////////////////RTOS TASKS END////////////////////////////////////////////////////////////////

/* USER CODE END 4 */

void HAL_TIM_PeriodElapsedCallback(TIM_HandleTypeDef *htim)
{
  if (htim->Instance == TIM6) {
    HAL_IncTick();
  }
}

void Error_Handler(void)
{
  __disable_irq();
  while (1)
  {
  }
}
